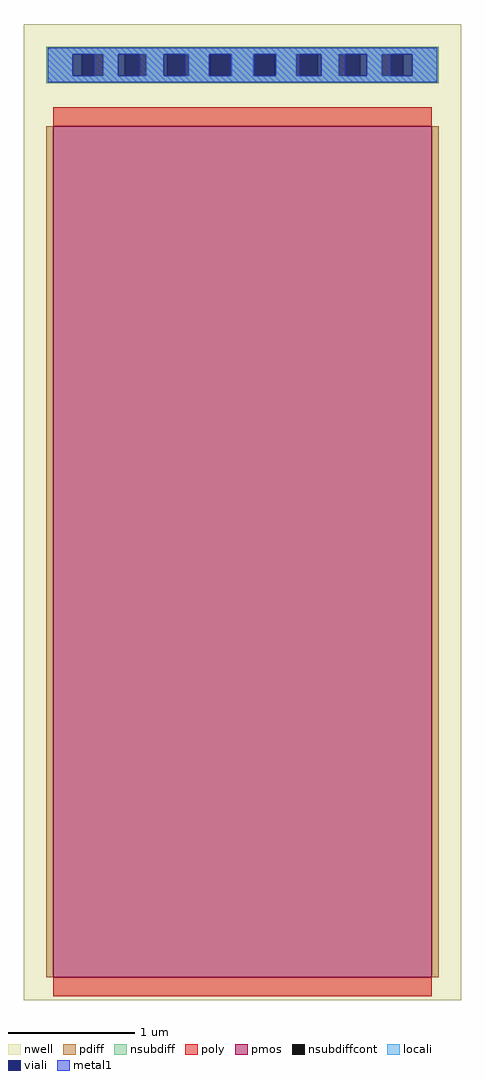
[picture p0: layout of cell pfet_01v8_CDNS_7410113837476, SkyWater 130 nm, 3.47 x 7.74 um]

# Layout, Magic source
magic
tech sky130A
magscale 1 2
<< nwell >>
rect -47 -36 647 1512
<< pmos >>
rect 0 0 600 1350
<< pdiff >>
rect -11 0 0 1350
rect 600 0 611 1350
<< nsubdiff >>
rect -11 1464 611 1476
rect -11 1430 45 1464
rect 79 1430 113 1464
rect 147 1430 181 1464
rect 215 1430 249 1464
rect 283 1430 317 1464
rect 351 1430 385 1464
rect 419 1430 453 1464
rect 487 1430 521 1464
rect 555 1430 611 1464
rect -11 1418 611 1430
<< nsubdiffcont >>
rect 45 1430 79 1464
rect 113 1430 147 1464
rect 181 1430 215 1464
rect 249 1430 283 1464
rect 317 1430 351 1464
rect 385 1430 419 1464
rect 453 1430 487 1464
rect 521 1430 555 1464
<< poly >>
rect 0 1350 600 1380
rect 0 -30 600 0
<< locali >>
rect -9 1464 609 1474
rect -9 1430 31 1464
rect 79 1430 103 1464
rect 147 1430 175 1464
rect 215 1430 247 1464
rect 283 1430 317 1464
rect 353 1430 385 1464
rect 425 1430 453 1464
rect 497 1430 521 1464
rect 569 1430 609 1464
rect -9 1420 609 1430
<< viali >>
rect 31 1430 45 1464
rect 45 1430 65 1464
rect 103 1430 113 1464
rect 113 1430 137 1464
rect 175 1430 181 1464
rect 181 1430 209 1464
rect 247 1430 249 1464
rect 249 1430 281 1464
rect 319 1430 351 1464
rect 351 1430 353 1464
rect 391 1430 419 1464
rect 419 1430 425 1464
rect 463 1430 487 1464
rect 487 1430 497 1464
rect 535 1430 555 1464
rect 555 1430 569 1464
<< metal1 >>
rect -9 1464 609 1474
rect -9 1430 31 1464
rect 65 1430 103 1464
rect 137 1430 175 1464
rect 209 1430 247 1464
rect 281 1430 319 1464
rect 353 1430 391 1464
rect 425 1430 463 1464
rect 497 1430 535 1464
rect 569 1430 609 1464
rect -9 1420 609 1430
<< end >>
